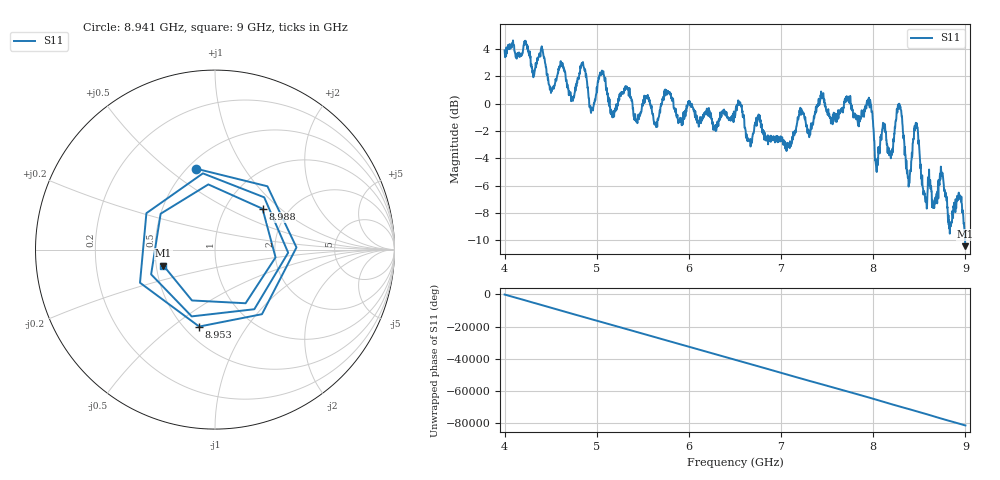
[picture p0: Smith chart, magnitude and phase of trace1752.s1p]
! Created with skrf 1.8.0 (http://scikit-rf.org).
# Hz S RI R 50.0
!freq ReS11 ImS11
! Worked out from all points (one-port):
!   1601 points, 4 GHz to 9 GHz, reference 50 ohm
!   lowest |S11| = -10.4 dB at 9 GHz (marker M1), VSWR 1.86, Z = 27.3 - j5.33 ohm
!   |S11| at or under -10 dB: 8.996513 GHz to end of sweep
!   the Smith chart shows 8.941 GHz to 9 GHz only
!   S11 on the Smith chart (normalised r, x): 8.941 GHz: 0.55, +0.63; 8.953 GHz: 0.59, -0.63; 8.988 GHz: 1.48, +0.77; 9 GHz: 0.55, -0.11
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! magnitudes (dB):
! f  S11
! 4 GHz  3.9
! 4.403 GHz  4.2
! 4.512 GHz  0.9
! 4.625 GHz  2.9
! 4.731 GHz  0.3
! 4.853 GHz  2.9
! 4.944 GHz  -0.4
! 5.053 GHz  2.2
! 5.166 GHz  -0.8
! 5.25 GHz  0.6
! 5.875 GHz  -0.8
! 6.5 GHz  -0.9
! 7.125 GHz  -2.6
! 7.75 GHz  0.6
! 7.966 GHz  0.3
! 8.044 GHz  -4.4
! 8.112 GHz  -1.7
! 8.197 GHz  -3.8
! 8.281 GHz  0.0
! 8.375 GHz  -5.4
! 8.462 GHz  -1.4
! 8.562 GHz  -6.9
! 8.741 GHz  -5.0
! 8.834 GHz  -8.9
! 8.941 GHz  -6.7
! 8.953 GHz  -7.2
! 8.988 GHz  -9.1
! 9 GHz  -10.4
